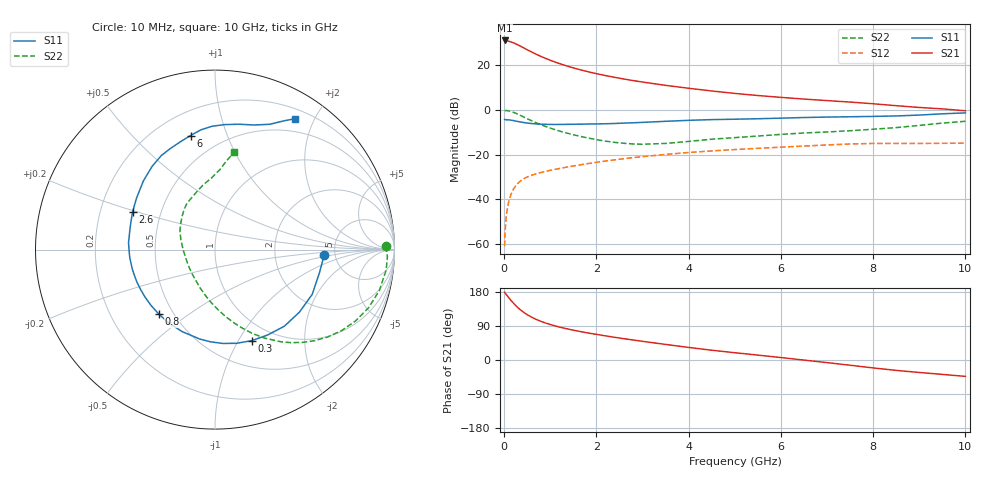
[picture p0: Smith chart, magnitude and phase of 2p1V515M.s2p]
! (c) 2009  Infineon Technologies AG, Munich
! Infineon Technologies  Discrete & RF Semiconductors
! BFP420
! VCE =  1.5 V,  IC =  15 mA
! Common Emitter S-Parameters:  Nov 2009
# GHz  S  MA  R  50
!  f  S11  S21  S12  S22
! GHz  MAG  ANG  MAG  ANG  MAG  ANG  MAG  ANG
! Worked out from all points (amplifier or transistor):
!   46 points, 10 MHz to 10 GHz, reference 50 ohm
!   highest |S21| = 31.0 dB at 10 MHz (marker M1)
!   |S21| within 3 dB of that: start of sweep to 395.4 MHz
!   unconditionally stable (mu >= 1): start of sweep to 10.13 MHz; 1.978 GHz to end of sweep
!   at 300 MHz: K = 0.26, MSG = 30.9 dB, |S12| = -32.8 dB
!   at 1.7 GHz: K = 0.93, MSG = 21.0 dB, |S12| = -24.4 dB
!   at 10 GHz: K = 1.07, MAG = 5.6 dB, |S12| = -14.9 dB
!   lowest NFmin = 1.06 dB at 900 MHz
!   S11 on the Smith chart (normalised r, x): 10 MHz: 4.07, -0.38; 300 MHz: 0.79, -1.14; 800 MHz: 0.42, -0.39; 2.6 GHz: 0.34, +0.19; 6 GHz: 0.34, +0.75; 10 GHz: 0.32, +1.73
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0.01  0.6086 -2.8  35.33 179.2  0.0009 81.9  0.952 1.1
0.02  0.6046 -4.9  34.59 177.0  0.0019 87.1  0.9614 -2.4
0.05  0.5963 -12.4  34.48 172.1  0.0047 86.7  0.9604 -6.8
0.1  0.5963 -24.8  33.95 164.4  0.009 80.9  0.944 -13.9
0.15  0.5853 -36.6  32.78 157.0  0.013 75.2  0.9151 -20.7
0.2  0.5758 -47.8  31.38 150.2  0.0168 71.0  0.8783 -26.9
0.25  0.559 -58.3  29.68 143.7  0.02 67.0  0.8375 -32.6
0.3  0.547 -68.0  28.1 137.9  0.023 63.7  0.7937 -37.9
0.4  0.5249 -85.1  24.87 127.9  0.0277 58.4  0.7086 -46.9
0.5  0.5054 -99.8  21.93 119.7  0.0315 54.7  0.6316 -54.4
0.6  0.4921 -112.0  19.42 112.7  0.0346 52.1  0.5659 -60.7
0.8  0.4763 -131.2  15.51 101.9  0.0398 49.2  0.4634 -70.8
1  0.4712 -145.9  12.76 93.6  0.0444 47.8  0.3896 -79.4
1.2  0.4712 -157.2  10.74 86.9  0.0488 46.9  0.3352 -87.1
1.7  0.4782 -178.2  7.593 74.0  0.0601 45.3  0.2485 -105.1
2.6  0.5043 155.7  4.858 56.1  0.0809 40.5  0.1781 -141.0
3.5  0.5529 136.2  3.512 41.1  0.1007 33.9  0.1772 -179.1
5.5  0.6306 107.9  2.082 12.9  0.1377 17.1  0.2591 135.3
6  0.65 102.1  1.893 6.5  0.1462 13.0  0.2821 127.7
7  0.6873 91.4  1.604 -6.9  0.164 3.8  0.3192 113.3
8.5  0.728 72.5  1.234 -27.4  0.177 -12.8  0.4001 92.7
10  0.8527 58.7  0.95 -43.2  0.1798 -23.6  0.5537 78.7
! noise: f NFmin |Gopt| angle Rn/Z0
0.9  1.06  0.09  -152  0.13
1.8  1.36  0.18  -147  0.12
2.4  1.49  0.17  -148  0.14
3  1.53  0.25  -138  0.14
4  1.67  0.38  -119  0.2
5  2.14  0.44  -103  0.32
6  2.48  0.5  -88  0.47
